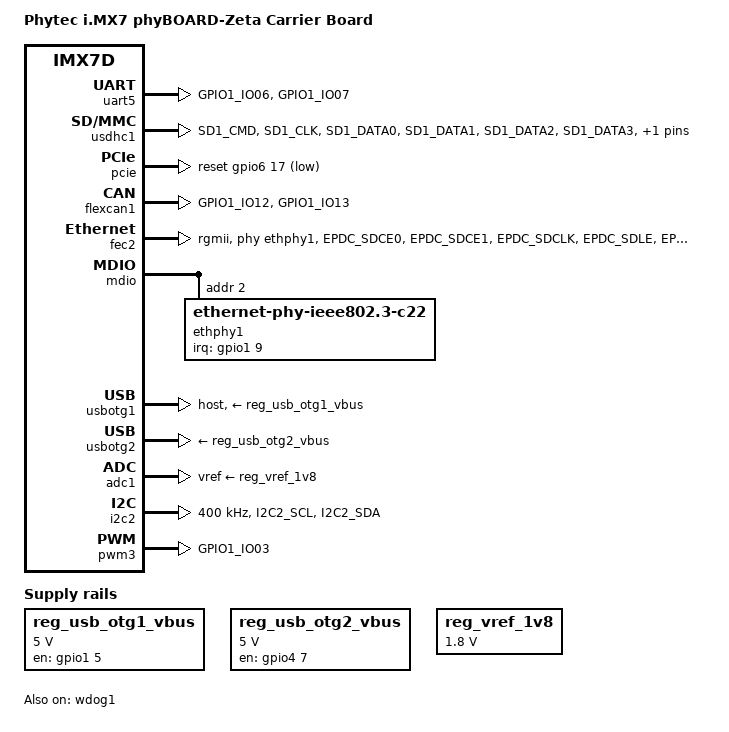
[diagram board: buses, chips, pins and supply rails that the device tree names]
/*
 * Copyright (C) 2015 PHYTEC America, LLC
 *
 * This program is free software; you can redistribute it and/or modify
 * it under the terms of the GNU General Public License version 2 as
 * published by the Free Software Foundation.
 */

/ {
	model = "Phytec i.MX7 phyBOARD-Zeta Carrier Board";
	compatible = "phytec,imx7-pba-c-09", "phytec,imx7-phycore-som", "fsl,imx7d";

	regulators {
		compatible = "simple-bus";
		#address-cells = <1>;
		#size-cells = <0>;

		reg_usb_otg1_vbus: regulator@0 {
			compatible = "regulator-fixed";
			reg = <0>;
			regulator-name = "usb_otg1_vbus";
			regulator-min-microvolt = <5000000>;
			regulator-max-microvolt = <5000000>;
			gpio = <&gpio1 5 GPIO_ACTIVE_HIGH>;
			enable-active-high;
		};

		reg_usb_otg2_vbus: regulator@1 {
			compatible = "regulator-fixed";
			reg = <1>;
			regulator-name = "usb_otg2_vbus";
			regulator-min-microvolt = <5000000>;
			regulator-max-microvolt = <5000000>;
			gpio = <&gpio4 7 GPIO_ACTIVE_HIGH>;
			enable-active-high;
		};


		reg_vref_1v8: regulator@2 {
			compatible = "regulator-fixed";
			reg = <2>;
			regulator-name = "vref-1v8";
			regulator-min-microvolt = <1800000>;
			regulator-max-microvolt = <1800000>;
		};

		/* For display PEB-AV-02 */
		backlight: backlight {
			compatible = "pwm-backlight";
			pwms = <&pwm3 0 5000000>;
			enable-gpios = <&gpio1 1 0>;
			status = "disabled";
		};

		reg_wlan: regulator-wlan {
			compatible = "regulator-fixed";
			pinctrl-names = "default";
			pinctrl-0 = <&pinctrl_wl_reg_on>;
			regulator-name = "wlan";
			gpio = <&gpio4 17 GPIO_ACTIVE_HIGH>;
			status = "disabled";
		};

		reg_bt: regulator-bt {
			compatible = "regulator-fixed";
			pinctrl-names = "default";
			pinctrl-0 = <&pinctrl_bt_reg_on>;
			regulator-name = "bt";
			gpio = <&gpio4 18 GPIO_ACTIVE_HIGH>;
			status = "disabled";
		};

		/* Enable if R9 is populated. Conflicts with userbtn2 on PEB-EVAL-02 */
		/*
		reg_can1_3v3: regulator@2 {
			compatible = "regulator-fixed";
			reg = <2>;
			regulator-name = "can1-3v3";
			regulator-min-microvolt = <3300000>;
			regulator-max-microvolt = <3300000>;
			gpio = <&gpio5 2 GPIO_ACTIVE_HIGH>;
			enable-active-high;
		};
		*/
	};
};

&iomuxc {
	pinctrl-names = "default";
	pinctrl-0 = <&pinctrl_hog_1 &pinctrl_hog_2 &pinctrl_hog_lcd>;

	imx7d-phycore {
		pinctrl_hog_2: hoggrp-2 {
			fsl,pins = <
				MX7D_PAD_SD1_CD_B__GPIO5_IO0		0x59 /* SD1 CD */
				MX7D_PAD_SD1_WP__GPIO5_IO1		0x59 /* PCIe Disable */
				MX7D_PAD_SAI1_RX_BCLK__GPIO6_IO17	0x59 /* PCIe Reset */
				MX7D_PAD_UART3_CTS_B__GPIO4_IO7		0x14 /* USB2 pwr */
				MX7D_PAD_GPIO1_IO09__GPIO1_IO9 		0x59 /* ETH2 Int_N */
				MX7D_PAD_EPDC_PWR_COM__GPIO2_IO30	0x59 /* ETH2 Reset_n */
				MX7D_PAD_EPDC_DATA10__GPIO2_IO10	0x59 /* User Button */
				MX7D_PAD_EPDC_DATA13__GPIO2_IO13	0x39 /* Boot Circuit Buffer Enable
										5K pull-up  */
			>;
		};

		pinctrl_usdhc1: usdhc1grp {
			fsl,pins = <
				MX7D_PAD_SD1_CMD__SD1_CMD		0x59
				MX7D_PAD_SD1_CLK__SD1_CLK		0x19
				MX7D_PAD_SD1_DATA0__SD1_DATA0		0x59
				MX7D_PAD_SD1_DATA1__SD1_DATA1		0x59
				MX7D_PAD_SD1_DATA2__SD1_DATA2		0x59
				MX7D_PAD_SD1_DATA3__SD1_DATA3		0x59
			>;
		};

		pinctrl_flexcan1: flexcan1grp {
			fsl,pins = <
				MX7D_PAD_GPIO1_IO12__FLEXCAN1_RX	0x5a
				MX7D_PAD_GPIO1_IO13__FLEXCAN1_TX	0x5a
			>;
		};

		pinctrl_enet2: enet2grp {
			fsl,pins = <
				MX7D_PAD_EPDC_SDCE0__ENET2_RGMII_RX_CTL	0x5
				MX7D_PAD_EPDC_SDCE1__ENET2_RGMII_RXC 	0x5
				MX7D_PAD_EPDC_SDCLK__ENET2_RGMII_RD0	0x5
				MX7D_PAD_EPDC_SDLE__ENET2_RGMII_RD1	0x5
				MX7D_PAD_EPDC_SDOE__ENET2_RGMII_RD2	0x5
				MX7D_PAD_EPDC_SDSHR__ENET2_RGMII_RD3	0x5
				MX7D_PAD_EPDC_SDCE2__ENET2_RGMII_TD0	0x5
				MX7D_PAD_EPDC_SDCE3__ENET2_RGMII_TD1	0x5
				MX7D_PAD_EPDC_GDCLK__ENET2_RGMII_TD2	0x5
				MX7D_PAD_EPDC_GDOE__ENET2_RGMII_TD3	0x5
				MX7D_PAD_EPDC_GDRL__ENET2_RGMII_TX_CTL	0x5
				MX7D_PAD_EPDC_GDSP__ENET2_RGMII_TXC	0x5
			>;
		};
	};
};

&iomuxc_lpsr {
	pinctrl-names = "default";
	pinctrl-0 = <&pinctrl_hog_lpsr_1 &pinctrl_hog_lpsr_lcd>;

	imx7d-phycore {
		pinctrl_hog_lpsr_1: hoggrp-lpsr_1 {
			fsl,pins = <
				MX7D_PAD_GPIO1_IO05__GPIO1_IO5		0x14 /* USB1 pwr */
			>;
		};

		pinctrl_uart5: uart5grp {
			fsl,pins = <
				MX7D_PAD_GPIO1_IO06__UART5_DCE_RX	0x79
				MX7D_PAD_GPIO1_IO07__UART5_DCE_TX	0x79
			>;
		};

		pinctrl_wdog: wdoggrp {
			fsl,pins = <
				MX7D_PAD_GPIO1_IO00__WDOD1_WDOG_B	0x74
			>;
		};
	};
};

&uart5 {
	pinctrl-names = "default";
	pinctrl-0 = <&pinctrl_uart5>;
	assigned-clocks = <&clks IMX7D_UART5_ROOT_SRC>;
	assigned-clock-parents = <&clks IMX7D_OSC_24M_CLK>;
	status = "okay";
};

&usdhc1 {
	pinctrl-names = "default";
	pinctrl-0 = <&pinctrl_usdhc1>;
	cd-gpios = <&gpio5 0 GPIO_ACTIVE_LOW>;
	no-1-8-v; /* Fixed voltage supply, doesn't support vsel */
	enable-sdio-wakeup;
	keep-power-in-suspend;
	status = "okay";
};

&pcie {
	pinctrl-names = "default";
	reset-gpio = <&gpio6 17  GPIO_ACTIVE_LOW>;
	disable-gpio = <&gpio5 1 GPIO_ACTIVE_LOW>;
	ext_osc = <0>; /* Using internal osc. Set to 1 for external osc */
	status = "okay";
};

&flexcan1 {
	pinctrl-names = "default";
	pinctrl-0 = <&pinctrl_flexcan1>;
	/* Enable the following if SD1_RESET_B is used to enable/disable CAN xceiver
	 *  xceiver-supply = <&reg_can1_3v3>;
	 */
	status = "okay";
};

&fec2 {
	pinctrl-names = "default";
	pinctrl-0 = <&pinctrl_enet2>;
	assigned-clocks = <&clks IMX7D_ENET2_TIME_ROOT_SRC>,
			<&clks IMX7D_ENET2_TIME_ROOT_CLK>;
	assigned-clock-parents = <&clks IMX7D_PLL_ENET_MAIN_100M_CLK>;
	assigned-clock-rates = <0>, <100000000>;
	phy-mode = "rgmii";
	phy-handle = <&ethphy1>;
	fsl,magic-packet;
	phy-reset-gpios = <&gpio2 30 GPIO_ACTIVE_LOW>;
	status = "okay";
};

/* same MDIO bus as PHY on phyCORE SOM */
&mdio {
	ethphy1: ethernet-phy@2 {
		compatible = "ethernet-phy-ieee802.3-c22";
		interrupt-parent = <&gpio1>;
		interrupts = <9 0>;
		reg = <2>;
		rxdv-skew-ps = <0>;
		txen-skew-ps = <0>;
		rxd0-skew-ps = <0>;
		rxd1-skew-ps = <0>;
		rxd2-skew-ps = <0>;
		rxd3-skew-ps = <0>;
		rxc-skew-ps = <1860>;
		txc-skew-ps = <1860>;
	};
};

&usbotg1 {
	vbus-supply = <&reg_usb_otg1_vbus>;
	dr_mode = "host";
	status = "okay";
};

&usbotg2 {
	vbus-supply = <&reg_usb_otg2_vbus>;
	status = "okay";
};

&wdog1 {
	pinctrl-names = "default";
	pinctrl-0 = <&pinctrl_wdog>;
	fsl,wdog_b;
	status = "okay";
};

&adc1 {
	vref-supply = <&reg_vref_1v8>;
	status = "okay";
};

/* DTS pinmuxing and bindings for LCD adapter PEB-AV-02 */

&iomuxc {
	imx7d-phycore {
		pinctrl_hog_lcd: hog_lcdgrp {
			fsl,pins = <
				MX7D_PAD_LCD_RESET__GPIO3_IO4		0x79
			>;
		};

		pinctrl_i2c2: i2c2grp {
			fsl,pins = <
				MX7D_PAD_I2C2_SCL__I2C2_SCL		0x4000007e
				MX7D_PAD_I2C2_SDA__I2C2_SDA		0x4000007e
			>;
		};

		pinctrl_edt_ts_irq: tsirqgrp {
			fsl,pins = <
				MX7D_PAD_EPDC_DATA14__GPIO2_IO14	0x59
			>;
		};
	};
};

&iomuxc_lpsr {
	imx7d-phycore {
		pinctrl_pwm3: pwmgrp {
			fsl,pins = <
				MX7D_PAD_GPIO1_IO03__PWM3_OUT		0x30
			>;
		};

		pinctrl_hog_lpsr_lcd: hoggrp_lpsr_lcd {
			fsl,pins = <
				MX7D_PAD_GPIO1_IO01__GPIO1_IO1		0x59
			>;
		};
	};
};

&i2c2 {
	clock-frequency = <400000>;
	pinctrl-names = "default";
	pinctrl-0 = <&pinctrl_i2c2>;
	status = "okay";

	ft5406: ft5406@38 {
		pinctrl-names = "default";
		pinctrl-0 = <&pinctrl_edt_ts_irq>;
		interrupt-parent = <&gpio2>;
		interrupts = <14 0>;
		reset-gpios = <&gpio3 4 GPIO_ACTIVE_LOW>;
		status = "disabled";
	};
};

&pwm3 {
	pinctrl-names = "default";
	pinctrl-0 = <&pinctrl_pwm3>;
	status = "okay";
};

/* DTS pinmuxing and bindings for WiFi/BT adapter PEB-WLBT-03 */
&iomuxc {
	imx7d-phycore {
		pinctrl_wl_reg_on: wl_reg_ongrp {
			fsl,pins = <
				MX7D_PAD_ECSPI1_MOSI__GPIO4_IO17	0x14
			>;
		};

		pinctrl_bt_reg_on: bt_reg_ongrp {
			fsl,pins = <
				MX7D_PAD_ECSPI1_MISO__GPIO4_IO18	0x14
			>;
		};

		pinctrl_usdhc2: usdhc2grp {
			fsl,pins = <
				MX7D_PAD_SD2_CMD__SD2_CMD		0x59
				MX7D_PAD_SD2_CLK__SD2_CLK		0x19
				MX7D_PAD_SD2_DATA0__SD2_DATA0		0x59
				MX7D_PAD_SD2_DATA1__SD2_DATA1		0x59
				MX7D_PAD_SD2_DATA2__SD2_DATA2		0x59
				MX7D_PAD_SD2_DATA3__SD2_DATA3		0x59
			>;
		};

		pinctrl_uart7: uart7grp {
			fsl,pins = <
				MX7D_PAD_ECSPI2_MOSI__UART7_DTE_RX	0x79
				MX7D_PAD_ECSPI2_SCLK__UART7_DTE_TX	0x79
				MX7D_PAD_ECSPI2_MISO__UART7_DTE_CTS	0x79
				MX7D_PAD_ECSPI2_SS0__UART7_DTE_RTS	0x79
			>;
		};
	};

};

&usdhc2 {
	#address-cells = <1>;
	#size-cells = <0>;
	pinctrl-names = "default";
	pinctrl-0 = <&pinctrl_usdhc2>;
	status = "disabled";
};

&uart7 {
	pinctrl-names = "default";
	pinctrl-0 = <&pinctrl_uart7>;
	assigned-clocks = <&clks IMX7D_UART7_ROOT_SRC>;
	assigned-clock-parents = <&clks IMX7D_PLL_SYS_MAIN_240M_CLK>;
	status = "disabled";
};
